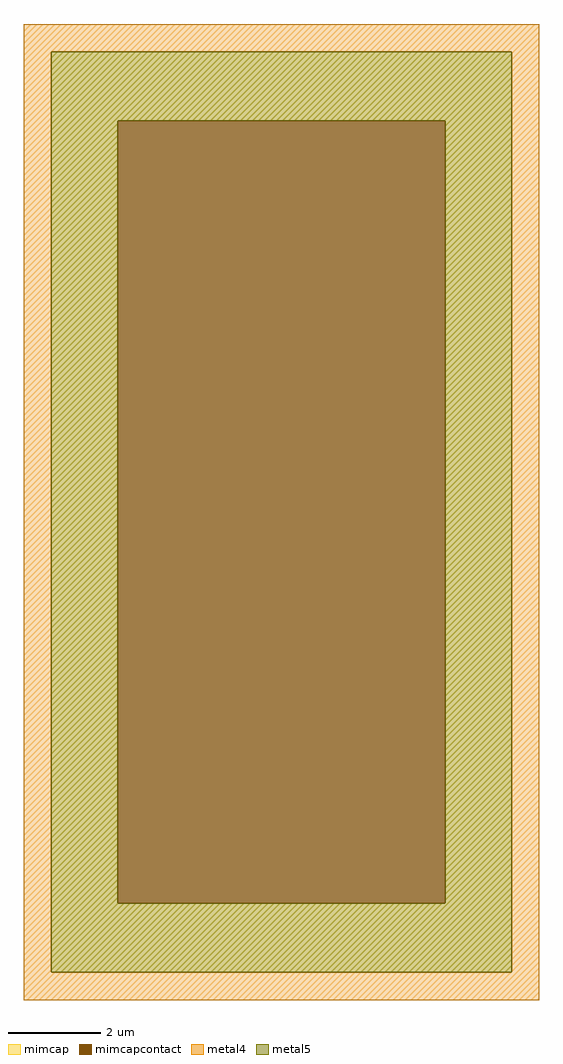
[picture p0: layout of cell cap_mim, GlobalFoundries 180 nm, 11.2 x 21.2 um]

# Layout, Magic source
magic
tech gf180mcuD
magscale 1 5
<< mimcap >>
rect 0 1850 1000 2000
rect 0 150 144 1850
rect 856 150 1000 1850
rect 0 0 1000 150
<< mimcapcontact >>
rect 144 150 856 1850
<< metal4 >>
rect -60 2000 1060 2060
rect -60 0 0 2000
rect 1000 0 1060 2000
rect -60 -60 1060 0
<< metal5 >>
rect 0 1850 1000 2000
rect 0 150 144 1850
rect 856 150 1000 1850
rect 0 0 1000 150
<< end >>
